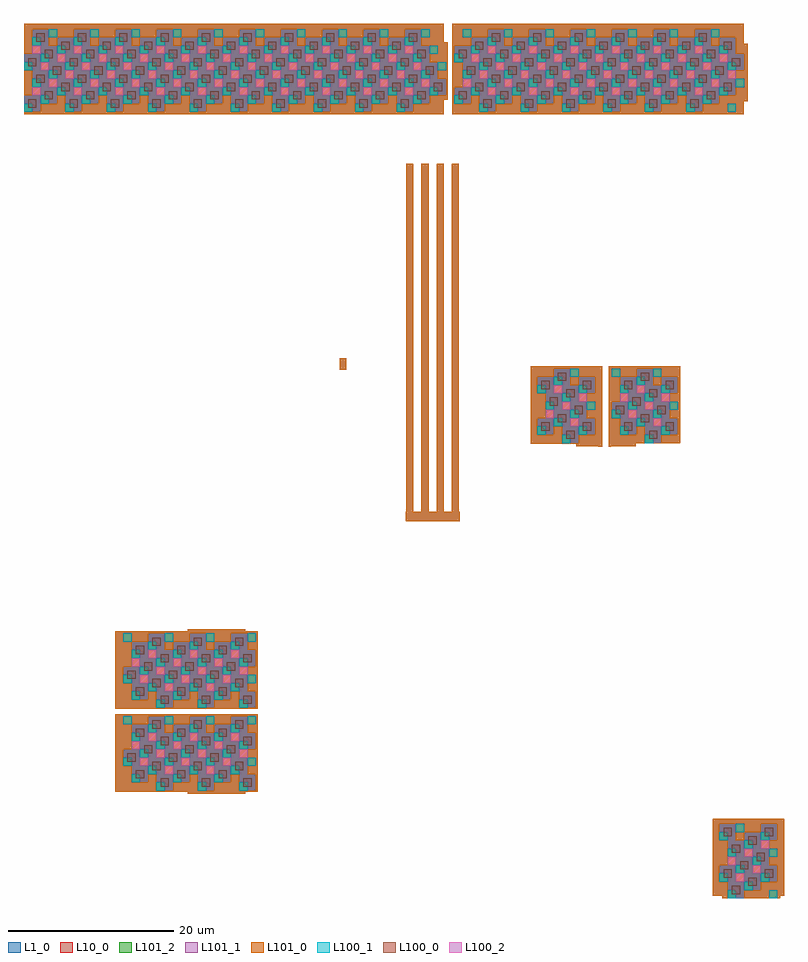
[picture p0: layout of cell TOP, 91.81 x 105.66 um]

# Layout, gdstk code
import gdstk
lib = gdstk.Library(unit=1e-6, precision=1e-09)
def R(c, l, rs):  # rectangles x0, y0, x1, y1
    for r in rs: c.add(gdstk.rectangle(r[:2], r[2:], *l))
def A(c, l, x, y, w, h, nx, ny, dx, dy):  # array of equal rectangles
    R(c, l, [(x+i*dx, y+j*dy, x+i*dx+w, y+j*dy+h) for i in range(nx) for j in range(ny)])
def P(c, l, *ps):  # polygons
    for p in ps: c.add(gdstk.Polygon(p, *l))
L1_0 = (1, 0)
L10_0 = (10, 0)
L100_0 = (100, 0)
L100_1 = (100, 1)
L100_2 = (100, 2)
L101_0 = (101, 0)
L101_1 = (101, 1)
L101_2 = (101, 2)

pat1 = lib.new_cell('PAT1')
R(pat1, L100_0, [(0,0,1,1)])

pat1_1 = lib.new_cell('PAT1$1')
R(pat1_1, L100_1, [(0,0,1,1)])

pat1_2 = lib.new_cell('PAT1$2')
R(pat1_2, L100_2, [(0,0,1,1)])

top = lib.new_cell('TOP')
R(top, L1_0, [(38.14,63.84,38.95,65.24)])
P(top, L1_0, [(0,94.703),(0,105.656),(50.732,105.656),(50.732,103.431),(51.214,103.431),(51.214,96.462),(50.732,96.462),(50.732,94.703)],
  [(51.75,94.703),(51.75,105.656),(86.941,105.656),(86.941,103.259),(87.423,103.259),(87.423,96.29),(86.941,96.29),(86.941,94.703)],
  [(70.622,54.579),(70.622,64.274),(79.247,64.274),(79.247,54.959),(73.881,54.959),(73.881,54.614),(70.949,54.614),(70.949,54.579)],
  [(84.353,0),(84.353,0.311),(83.18,0.311),(83.18,9.626),(91.805,9.626),(91.805,0.311),(91.322,0.311),(91.322,0)],
  [(11.006,22.874),(11.006,32.24),(19.768,32.24),(19.768,32.499),(26.738,32.499),(26.738,32.24),(28.256,32.24),(28.256,22.874)],
  [(46.108,45.575),(46.108,46.679),(46.178,46.679),(46.178,88.734),(47.04,88.734),(47.04,46.679),(48.006,46.679),(48.006,88.734),(48.868,88.734),(48.868,46.679),(49.834,46.679),(49.834,88.734),(50.697,88.734),(50.697,46.679),(51.663,46.679),(51.663,88.734),(52.526,88.734),(52.526,46.679),(52.629,46.679),(52.629,45.575)],
  [(19.768,12.609),(19.768,12.869),(11.006,12.869),(11.006,22.235),(28.256,22.235),(28.256,12.869),(26.738,12.869),(26.738,12.609)],
  [(69.396,54.579),(69.396,54.614),(66.705,54.614),(66.705,54.906),(61.203,54.906),(61.203,64.274),(69.828,64.274),(69.828,54.579)])
R(top, L10_0, [(38.14,63.84,38.95,65.24)])
P(top, L10_0, [(0,94.703),(0,105.656),(50.732,105.656),(50.732,103.431),(51.214,103.431),(51.214,96.462),(50.732,96.462),(50.732,94.703)],
  [(51.75,94.703),(51.75,105.656),(86.941,105.656),(86.941,103.259),(87.423,103.259),(87.423,96.29),(86.941,96.29),(86.941,94.703)],
  [(70.622,54.579),(70.622,64.274),(79.247,64.274),(79.247,54.959),(73.881,54.959),(73.881,54.614),(70.949,54.614),(70.949,54.579)],
  [(84.353,0),(84.353,0.311),(83.18,0.311),(83.18,9.626),(91.805,9.626),(91.805,0.311),(91.322,0.311),(91.322,0)],
  [(11.006,22.874),(11.006,32.24),(19.768,32.24),(19.768,32.499),(26.738,32.499),(26.738,32.24),(28.256,32.24),(28.256,22.874)],
  [(46.108,45.575),(46.108,46.679),(46.178,46.679),(46.178,88.734),(47.04,88.734),(47.04,46.679),(48.006,46.679),(48.006,88.734),(48.868,88.734),(48.868,46.679),(49.834,46.679),(49.834,88.734),(50.697,88.734),(50.697,46.679),(51.663,46.679),(51.663,88.734),(52.526,88.734),(52.526,46.679),(52.629,46.679),(52.629,45.575)],
  [(19.768,12.609),(19.768,12.869),(11.006,12.869),(11.006,22.235),(28.256,22.235),(28.256,12.869),(26.738,12.869),(26.738,12.609)],
  [(69.396,54.579),(69.396,54.614),(66.705,54.614),(66.705,54.906),(61.203,54.906),(61.203,64.274),(69.828,64.274),(69.828,54.579)])
A(top, L101_0, 14, 16, 1, 1, 3, 2, 5, 10)
A(top, L101_0, 15, 19, 1, 1, 3, 2, 5, 10)
A(top, L101_0, 6, 97, 1, 1, 9, 2, 5, 5)
A(top, L101_0, 56, 97, 1, 1, 6, 2, 5, 5)
A(top, L101_0, 3, 98, 1, 1, 10, 1, 5, 0)
A(top, L101_0, 58, 98, 1, 1, 6, 1, 5, 0)
A(top, L101_0, 5, 99, 1, 1, 9, 1, 5, 0)
A(top, L101_0, 55, 99, 1, 1, 6, 1, 5, 0)
A(top, L101_0, 2, 100, 1, 1, 10, 1, 5, 0)
A(top, L101_0, 57, 100, 1, 1, 6, 1, 5, 0)
A(top, L101_0, 4, 101, 1, 1, 9, 1, 5, 0)
A(top, L101_0, 54, 101, 1, 1, 7, 1, 5, 0)
R(top, L101_0, [(86,2,87,3), (88,3,89,4), (87,5,88,6), (17,15,18,16), (22,15,23,16), (16,17,17,18), (21,17,22,18), (18,18,19,19), (23,18,24,19), (17,25,18,26), (22,25,23,26), (16,27,17,28), (21,27,22,28), (18,28,19,29), (23,28,24,29), (66,57,67,58), (76,57,77,58), (73,58,74,59), (65,59,66,60), (75,59,76,60), (64,61,65,62), (74,61,75,62), (38.14,63.84,38.95,65.24)])
P(top, L101_0, [(0,94.703),(0,95),(2,95),(2,96),(4,96),(4,97),(5,97),(5,95),(7,95),(7,96),(9,96),(9,97),(10,97),(10,95),(12,95),(12,96),(14,96),(14,97),(15,97),(15,95),(17,95),(17,96),(19,96),(19,97),(20,97),(20,95),(22,95),(22,96),(24,96),(24,97),(25,97),(25,95),(27,95),(27,96),(29,96),(29,97),(30,97),(30,95),(32,95),(32,96),(34,96),(34,97),(35,97),(35,95),(37,95),(37,96),(39,96),(39,97),(40,97),(40,95),(42,95),(42,96),(44,96),(44,97),(45,97),(45,95),(47,95),(47,96),(49,96),(49,97),(51,97),(51,99),(50,99),(50,101),(49,101),(49,103),(48,103),(48,105),(46,105),(46,104),(44,104),(44,103),(43,103),(43,105),(41,105),(41,104),(39,104),(39,103),(38,103),(38,105),(36,105),(36,104),(34,104),(34,103),(33,103),(33,105),(31,105),(31,104),(29,104),(29,103),(28,103),(28,105),(26,105),(26,104),(24,104),(24,103),(23,103),(23,105),(21,105),(21,104),(19,104),(19,103),(18,103),(18,105),(16,105),(16,104),(14,104),(14,103),(13,103),(13,105),(11,105),(11,104),(9,104),(9,103),(8,103),(8,105),(6,105),(6,104),(4,104),(4,103),(3,103),(3,105),(1,105),(1,103),(2,103),(2,102),(0,102),(0,105.656),(50.732,105.656),(50.732,103.431),(51.214,103.431),(51.214,96.462),(50.732,96.462),(50.732,94.703)],
  [(46.108,45.575),(46.108,46.679),(46.178,46.679),(46.178,88.734),(47.04,88.734),(47.04,46.679),(48.006,46.679),(48.006,88.734),(48.868,88.734),(48.868,46.679),(49.834,46.679),(49.834,88.734),(50.697,88.734),(50.697,46.679),(51.663,46.679),(51.663,88.734),(52.526,88.734),(52.526,46.679),(52.629,46.679),(52.629,45.575)],
  [(69.396,54.579),(69.396,54.614),(66.705,54.614),(66.705,54.906),(61.203,54.906),(61.203,64),(64,64),(64,63),(62,63),(62,61),(63,61),(63,59),(64,59),(64,58),(62,58),(62,56),(64,56),(64,57),(65,57),(65,55),(67,55),(67,56),(69,56),(69,58),(68,58),(68,60),(67,60),(67,61),(69,61),(69,63),(67,63),(67,62),(66,62),(66,64),(61.203,64),(61.203,64.274),(69.828,64.274),(69.828,54.579)],
  [(70.622,54.579),(70.622,64),(74,64),(74,63),(72,63),(72,61),(73,61),(73,60),(71,60),(71,58),(72,58),(72,56),(74,56),(74,57),(75,57),(75,55),(77,55),(77,56),(79,56),(79,58),(78,58),(78,60),(77,60),(77,61),(79,61),(79,63),(77,63),(77,62),(76,62),(76,64),(70.622,64),(70.622,64.274),(79.247,64.274),(79.247,54.959),(73.881,54.959),(73.881,54.614),(70.949,54.614),(70.949,54.579)],
  [(51.75,94.703),(51.75,105),(56,105),(56,104),(54,104),(54,103),(52,103),(52,101),(53,101),(53,99),(54,99),(54,98),(52,98),(52,96),(54,96),(54,97),(55,97),(55,95),(57,95),(57,96),(59,96),(59,97),(60,97),(60,95),(62,95),(62,96),(64,96),(64,97),(65,97),(65,95),(67,95),(67,96),(69,96),(69,97),(70,97),(70,95),(72,95),(72,96),(74,96),(74,97),(75,97),(75,95),(77,95),(77,96),(79,96),(79,97),(80,97),(80,95),(82,95),(82,96),(84,96),(84,97),(86,97),(86,99),(85,99),(85,100),(87,100),(87,102),(86,102),(86,104),(84,104),(84,103),(83,103),(83,105),(81,105),(81,104),(79,104),(79,103),(78,103),(78,105),(76,105),(76,104),(74,104),(74,103),(73,103),(73,105),(71,105),(71,104),(69,104),(69,103),(68,103),(68,105),(66,105),(66,104),(64,104),(64,103),(63,103),(63,105),(61,105),(61,104),(59,104),(59,103),(58,103),(58,105),(51.75,105),(51.75,105.656),(86.941,105.656),(86.941,103.259),(87.423,103.259),(87.423,96.29),(86.941,96.29),(86.941,94.703)],
  [(0,97),(0,100),(1,100),(1,98),(2,98),(2,97)],
  [(19.768,12.609),(19.768,12.869),(11.006,12.869),(11.006,22),(15,22),(15,21),(13,21),(13,19),(14,19),(14,18),(12,18),(12,16),(13,16),(13,14),(15,14),(15,15),(16,15),(16,13),(18,13),(18,14),(20,14),(20,15),(21,15),(21,13),(23,13),(23,14),(25,14),(25,15),(26,15),(26,13),(28,13),(28,15),(27,15),(27,17),(26,17),(26,18),(28,18),(28,20),(27,20),(27,22),(25,22),(25,21),(23,21),(23,20),(22,20),(22,22),(20,22),(20,21),(18,21),(18,20),(17,20),(17,22),(11.006,22),(11.006,22.235),(28.256,22.235),(28.256,12.869),(26.738,12.869),(26.738,12.609)],
  [(11.006,22.874),(11.006,32),(15,32),(15,31),(13,31),(13,29),(14,29),(14,28),(12,28),(12,26),(13,26),(13,24),(15,24),(15,25),(16,25),(16,23),(18,23),(18,24),(20,24),(20,25),(21,25),(21,23),(23,23),(23,24),(25,24),(25,25),(26,25),(26,23),(28,23),(28,25),(27,25),(27,27),(26,27),(26,28),(28,28),(28,30),(27,30),(27,32),(25,32),(25,31),(23,31),(23,30),(22,30),(22,32),(20,32),(20,31),(18,31),(18,30),(17,30),(17,32),(11.006,32),(11.006,32.24),(19.768,32.24),(19.768,32.499),(26.738,32.499),(26.738,32.24),(28.256,32.24),(28.256,22.874)],
  [(84.353,0),(84.353,0.311),(83.18,0.311),(83.18,9.626),(91.805,9.626),(91.805,0.311),(91.322,0.311),(91.322,0),(87,0),(87,1),(89,1),(89,2),(91,2),(91,4),(90,4),(90,6),(89,6),(89,7),(91,7),(91,9),(89,9),(89,8),(87,8),(87,7),(86,7),(86,9),(84,9),(84,7),(85,7),(85,5),(86,5),(86,4),(84,4),(84,2),(85,2),(85,0)])
R(top, L101_1, [(38.14,63.84,38.95,65.24)])
P(top, L101_1, [(84.353,0),(84.353,0.311),(83.18,0.311),(83.18,3),(84,3),(84,2),(87,2),(87,1),(88,1),(88,2),(85,2),(85,3),(83.18,3),(83.18,4),(86,4),(86,3),(89,3),(89,2),(90,2),(90,3),(87,3),(87,4),(83.18,4),(83.18,6),(85,6),(85,5),(88,5),(88,4),(89,4),(89,5),(86,5),(86,6),(83.18,6),(83.18,8),(84,8),(84,7),(87,7),(87,6),(90,6),(90,5),(91,5),(91,6),(88,6),(88,7),(85,7),(85,8),(83.18,8),(83.18,9),(86,9),(86,8),(89,8),(89,7),(90,7),(90,8),(87,8),(87,9),(83.18,9),(83.18,9.626),(91.805,9.626),(91.805,0.311),(91.322,0.311),(91.322,0),(91,0),(91,1),(90,1),(90,0),(86,0),(86,1),(85,1),(85,0)],
  [(19.768,12.609),(19.768,12.869),(11.006,12.869),(11.006,15),(13,15),(13,14),(16,14),(16,13),(17,13),(17,14),(14,14),(14,15),(11.006,15),(11.006,17),(12,17),(12,16),(15,16),(15,15),(18,15),(18,14),(21,14),(21,13),(22,13),(22,14),(19,14),(19,15),(16,15),(16,16),(13,16),(13,17),(11.006,17),(11.006,18),(14,18),(14,17),(17,17),(17,16),(20,16),(20,15),(23,15),(23,14),(26,14),(26,13),(27,13),(27,14),(24,14),(24,15),(21,15),(21,16),(18,16),(18,17),(15,17),(15,18),(11.006,18),(11.006,20),(13,20),(13,19),(16,19),(16,18),(19,18),(19,17),(22,17),(22,16),(25,16),(25,15),(26,15),(26,16),(23,16),(23,17),(20,17),(20,18),(17,18),(17,19),(14,19),(14,20),(11.006,20),(11.006,22),(12,22),(12,21),(15,21),(15,20),(18,20),(18,19),(21,19),(21,18),(24,18),(24,17),(27,17),(27,16),(28,16),(28,17),(25,17),(25,18),(22,18),(22,19),(19,19),(19,20),(16,20),(16,21),(13,21),(13,22),(17,22),(17,21),(20,21),(20,20),(23,20),(23,19),(26,19),(26,18),(27,18),(27,19),(24,19),(24,20),(21,20),(21,21),(18,21),(18,22),(22,22),(22,21),(25,21),(25,20),(26,20),(26,21),(23,21),(23,22),(27,22),(27,21),(28,21),(28,22),(11.006,22),(11.006,22.235),(28.256,22.235),(28.256,12.869),(26.738,12.869),(26.738,12.609)],
  [(11.006,22.874),(11.006,25),(13,25),(13,24),(16,24),(16,23),(17,23),(17,24),(14,24),(14,25),(11.006,25),(11.006,27),(12,27),(12,26),(15,26),(15,25),(18,25),(18,24),(21,24),(21,23),(22,23),(22,24),(19,24),(19,25),(16,25),(16,26),(13,26),(13,27),(11.006,27),(11.006,28),(14,28),(14,27),(17,27),(17,26),(20,26),(20,25),(23,25),(23,24),(26,24),(26,23),(27,23),(27,24),(24,24),(24,25),(21,25),(21,26),(18,26),(18,27),(15,27),(15,28),(11.006,28),(11.006,30),(13,30),(13,29),(16,29),(16,28),(19,28),(19,27),(22,27),(22,26),(25,26),(25,25),(26,25),(26,26),(23,26),(23,27),(20,27),(20,28),(17,28),(17,29),(14,29),(14,30),(11.006,30),(11.006,32),(12,32),(12,31),(15,31),(15,30),(18,30),(18,29),(21,29),(21,28),(24,28),(24,27),(27,27),(27,26),(28,26),(28,27),(25,27),(25,28),(22,28),(22,29),(19,29),(19,30),(16,30),(16,31),(13,31),(13,32),(17,32),(17,31),(20,31),(20,30),(23,30),(23,29),(26,29),(26,28),(27,28),(27,29),(24,29),(24,30),(21,30),(21,31),(18,31),(18,32),(22,32),(22,31),(25,31),(25,30),(26,30),(26,31),(23,31),(23,32),(27,32),(27,31),(28,31),(28,32),(11.006,32),(11.006,32.24),(19.768,32.24),(19.768,32.499),(26.738,32.499),(26.738,32.24),(28.256,32.24),(28.256,22.874)],
  [(69.396,54.579),(69.396,54.614),(66.705,54.614),(66.705,54.906),(61.203,54.906),(61.203,57),(62,57),(62,56),(65,56),(65,55),(66,55),(66,56),(63,56),(63,57),(61.203,57),(61.203,58),(64,58),(64,57),(67,57),(67,56),(68,56),(68,57),(65,57),(65,58),(61.203,58),(61.203,60),(63,60),(63,59),(66,59),(66,58),(67,58),(67,59),(64,59),(64,60),(61.203,60),(61.203,62),(62,62),(62,61),(65,61),(65,60),(68,60),(68,59),(69,59),(69,60),(66,60),(66,61),(63,61),(63,62),(61.203,62),(61.203,63),(64,63),(64,62),(67,62),(67,61),(68,61),(68,62),(65,62),(65,63),(61.203,63),(61.203,64),(66,64),(66,63),(67,63),(67,64),(61.203,64),(61.203,64.274),(69.828,64.274),(69.828,54.579)],
  [(70.622,54.579),(70.622,57),(72,57),(72,56),(75,56),(75,55),(76,55),(76,56),(73,56),(73,57),(70.622,57),(70.622,59),(71,59),(71,58),(74,58),(74,57),(77,57),(77,56),(78,56),(78,57),(75,57),(75,58),(72,58),(72,59),(70.622,59),(70.622,60),(73,60),(73,59),(76,59),(76,58),(77,58),(77,59),(74,59),(74,60),(70.622,60),(70.622,62),(72,62),(72,61),(75,61),(75,60),(78,60),(78,59),(79,59),(79,60),(76,60),(76,61),(73,61),(73,62),(70.622,62),(70.622,64),(71,64),(71,63),(74,63),(74,62),(77,62),(77,61),(78,61),(78,62),(75,62),(75,63),(72,63),(72,64),(76,64),(76,63),(77,63),(77,64),(70.622,64),(70.622,64.274),(79.247,64.274),(79.247,54.959),(73.881,54.959),(73.881,54.614),(70.949,54.614),(70.949,54.579)],
  [(0,94.703),(0,95),(1,95),(1,96),(0,96),(0,97),(2,97),(2,96),(5,96),(5,95),(6,95),(6,96),(3,96),(3,97),(0,97),(0,99),(1,99),(1,98),(4,98),(4,97),(7,97),(7,96),(10,96),(10,95),(11,95),(11,96),(8,96),(8,97),(5,97),(5,98),(2,98),(2,99),(0,99),(0,100),(3,100),(3,99),(6,99),(6,98),(9,98),(9,97),(12,97),(12,96),(15,96),(15,95),(16,95),(16,96),(13,96),(13,97),(10,97),(10,98),(7,98),(7,99),(4,99),(4,100),(1,100),(1,101),(0,101),(0,102),(2,102),(2,101),(5,101),(5,100),(8,100),(8,99),(11,99),(11,98),(14,98),(14,97),(17,97),(17,96),(20,96),(20,95),(21,95),(21,96),(18,96),(18,97),(15,97),(15,98),(12,98),(12,99),(9,99),(9,100),(6,100),(6,101),(3,101),(3,102),(0,102),(0,104),(1,104),(1,103),(4,103),(4,102),(7,102),(7,101),(10,101),(10,100),(13,100),(13,99),(16,99),(16,98),(19,98),(19,97),(22,97),(22,96),(25,96),(25,95),(26,95),(26,96),(23,96),(23,97),(20,97),(20,98),(17,98),(17,99),(14,99),(14,100),(11,100),(11,101),(8,101),(8,102),(5,102),(5,103),(2,103),(2,104),(0,104),(0,105),(3,105),(3,104),(6,104),(6,103),(9,103),(9,102),(12,102),(12,101),(15,101),(15,100),(18,100),(18,99),(21,99),(21,98),(24,98),(24,97),(27,97),(27,96),(30,96),(30,95),(31,95),(31,96),(28,96),(28,97),(25,97),(25,98),(22,98),(22,99),(19,99),(19,100),(16,100),(16,101),(13,101),(13,102),(10,102),(10,103),(7,103),(7,104),(4,104),(4,105),(8,105),(8,104),(11,104),(11,103),(14,103),(14,102),(17,102),(17,101),(20,101),(20,100),(23,100),(23,99),(26,99),(26,98),(29,98),(29,97),(32,97),(32,96),(35,96),(35,95),(36,95),(36,96),(33,96),(33,97),(30,97),(30,98),(27,98),(27,99),(24,99),(24,100),(21,100),(21,101),(18,101),(18,102),(15,102),(15,103),(12,103),(12,104),(9,104),(9,105),(13,105),(13,104),(16,104),(16,103),(19,103),(19,102),(22,102),(22,101),(25,101),(25,100),(28,100),(28,99),(31,99),(31,98),(34,98),(34,97),(37,97),(37,96),(40,96),(40,95),(41,95),(41,96),(38,96),(38,97),(35,97),(35,98),(32,98),(32,99),(29,99),(29,100),(26,100),(26,101),(23,101),(23,102),(20,102),(20,103),(17,103),(17,104),(14,104),(14,105),(18,105),(18,104),(21,104),(21,103),(24,103),(24,102),(27,102),(27,101),(30,101),(30,100),(33,100),(33,99),(36,99),(36,98),(39,98),(39,97),(42,97),(42,96),(45,96),(45,95),(46,95),(46,96),(43,96),(43,97),(40,97),(40,98),(37,98),(37,99),(34,99),(34,100),(31,100),(31,101),(28,101),(28,102),(25,102),(25,103),(22,103),(22,104),(19,104),(19,105),(23,105),(23,104),(26,104),(26,103),(29,103),(29,102),(32,102),(32,101),(35,101),(35,100),(38,100),(38,99),(41,99),(41,98),(44,98),(44,97),(47,97),(47,96),(48,96),(48,97),(45,97),(45,98),(42,98),(42,99),(39,99),(39,100),(36,100),(36,101),(33,101),(33,102),(30,102),(30,103),(27,103),(27,104),(24,104),(24,105),(28,105),(28,104),(31,104),(31,103),(34,103),(34,102),(37,102),(37,101),(40,101),(40,100),(43,100),(43,99),(46,99),(46,98),(49,98),(49,97),(50,97),(50,98),(47,98),(47,99),(44,99),(44,100),(41,100),(41,101),(38,101),(38,102),(35,102),(35,103),(32,103),(32,104),(29,104),(29,105),(33,105),(33,104),(36,104),(36,103),(39,103),(39,102),(42,102),(42,101),(45,101),(45,100),(48,100),(48,99),(49,99),(49,100),(46,100),(46,101),(43,101),(43,102),(40,102),(40,103),(37,103),(37,104),(34,104),(34,105),(38,105),(38,104),(41,104),(41,103),(44,103),(44,102),(47,102),(47,101),(50,101),(50,100),(51,100),(51,101),(48,101),(48,102),(45,102),(45,103),(42,103),(42,104),(39,104),(39,105),(43,105),(43,104),(46,104),(46,103),(49,103),(49,102),(50,102),(50,103),(47,103),(47,104),(44,104),(44,105),(48,105),(48,104),(49,104),(49,105),(0,105),(0,105.656),(50.732,105.656),(50.732,103.431),(51.214,103.431),(51.214,96.462),(50.732,96.462),(50.732,94.703)],
  [(51.75,94.703),(51.75,97),(52,97),(52,96),(55,96),(55,95),(56,95),(56,96),(53,96),(53,97),(51.75,97),(51.75,98),(54,98),(54,97),(57,97),(57,96),(60,96),(60,95),(61,95),(61,96),(58,96),(58,97),(55,97),(55,98),(51.75,98),(51.75,100),(53,100),(53,99),(56,99),(56,98),(59,98),(59,97),(62,97),(62,96),(65,96),(65,95),(66,95),(66,96),(63,96),(63,97),(60,97),(60,98),(57,98),(57,99),(54,99),(54,100),(51.75,100),(51.75,102),(52,102),(52,101),(55,101),(55,100),(58,100),(58,99),(61,99),(61,98),(64,98),(64,97),(67,97),(67,96),(70,96),(70,95),(71,95),(71,96),(68,96),(68,97),(65,97),(65,98),(62,98),(62,99),(59,99),(59,100),(56,100),(56,101),(53,101),(53,102),(51.75,102),(51.75,103),(54,103),(54,102),(57,102),(57,101),(60,101),(60,100),(63,100),(63,99),(66,99),(66,98),(69,98),(69,97),(72,97),(72,96),(75,96),(75,95),(76,95),(76,96),(73,96),(73,97),(70,97),(70,98),(67,98),(67,99),(64,99),(64,100),(61,100),(61,101),(58,101),(58,102),(55,102),(55,103),(51.75,103),(51.75,105),(53,105),(53,104),(56,104),(56,103),(59,103),(59,102),(62,102),(62,101),(65,101),(65,100),(68,100),(68,99),(71,99),(71,98),(74,98),(74,97),(77,97),(77,96),(80,96),(80,95),(81,95),(81,96),(78,96),(78,97),(75,97),(75,98),(72,98),(72,99),(69,99),(69,100),(66,100),(66,101),(63,101),(63,102),(60,102),(60,103),(57,103),(57,104),(54,104),(54,105),(58,105),(58,104),(61,104),(61,103),(64,103),(64,102),(67,102),(67,101),(70,101),(70,100),(73,100),(73,99),(76,99),(76,98),(79,98),(79,97),(82,97),(82,96),(85,96),(85,95),(86,95),(86,96),(83,96),(83,97),(80,97),(80,98),(77,98),(77,99),(74,99),(74,100),(71,100),(71,101),(68,101),(68,102),(65,102),(65,103),(62,103),(62,104),(59,104),(59,105),(63,105),(63,104),(66,104),(66,103),(69,103),(69,102),(72,102),(72,101),(75,101),(75,100),(78,100),(78,99),(81,99),(81,98),(84,98),(84,97),(85,97),(85,98),(82,98),(82,99),(79,99),(79,100),(76,100),(76,101),(73,101),(73,102),(70,102),(70,103),(67,103),(67,104),(64,104),(64,105),(68,105),(68,104),(71,104),(71,103),(74,103),(74,102),(77,102),(77,101),(80,101),(80,100),(83,100),(83,99),(86,99),(86,98),(87,98),(87,99),(84,99),(84,100),(81,100),(81,101),(78,101),(78,102),(75,102),(75,103),(72,103),(72,104),(69,104),(69,105),(73,105),(73,104),(76,104),(76,103),(79,103),(79,102),(82,102),(82,101),(85,101),(85,100),(86,100),(86,101),(83,101),(83,102),(80,102),(80,103),(77,103),(77,104),(74,104),(74,105),(78,105),(78,104),(81,104),(81,103),(84,103),(84,102),(85,102),(85,103),(82,103),(82,104),(79,104),(79,105),(83,105),(83,104),(84,104),(84,105),(51.75,105),(51.75,105.656),(86.941,105.656),(86.941,103.259),(87.423,103.259),(87.423,96.29),(86.941,96.29),(86.941,94.703)],
  [(46.108,45.575),(46.108,46.679),(46.178,46.679),(46.178,88.734),(47.04,88.734),(47.04,46.679),(48.006,46.679),(48.006,88.734),(48.868,88.734),(48.868,46.679),(49.834,46.679),(49.834,88.734),(50.697,88.734),(50.697,46.679),(51.663,46.679),(51.663,88.734),(52.526,88.734),(52.526,46.679),(52.629,46.679),(52.629,45.575)])
R(top, L101_2, [(38.14,63.84,38.95,65.24)])
P(top, L101_2, [(84.353,0),(84.353,0.311),(83.18,0.311),(83.18,3),(86,3),(86,2),(87,2),(87,3),(83.18,3),(83.18,5),(85,5),(85,4),(88,4),(88,3),(89,3),(89,4),(86,4),(86,5),(83.18,5),(83.18,6),(87,6),(87,5),(88,5),(88,6),(83.18,6),(83.18,7),(89,7),(89,6),(90,6),(90,7),(83.18,7),(83.18,9.626),(91.805,9.626),(91.805,0.311),(91.322,0.311),(91.322,0)],
  [(19.768,12.609),(19.768,12.869),(11.006,12.869),(11.006,17),(14,17),(14,16),(17,16),(17,15),(18,15),(18,16),(15,16),(15,17),(11.006,17),(11.006,19),(13,19),(13,18),(16,18),(16,17),(19,17),(19,16),(22,16),(22,15),(23,15),(23,16),(20,16),(20,17),(17,17),(17,18),(14,18),(14,19),(11.006,19),(11.006,20),(15,20),(15,19),(18,19),(18,18),(21,18),(21,17),(24,17),(24,16),(25,16),(25,17),(22,17),(22,18),(19,18),(19,19),(16,19),(16,20),(20,20),(20,19),(23,19),(23,18),(26,18),(26,17),(27,17),(27,18),(24,18),(24,19),(21,19),(21,20),(25,20),(25,19),(26,19),(26,20),(11.006,20),(11.006,22.235),(28.256,22.235),(28.256,12.869),(26.738,12.869),(26.738,12.609)],
  [(11.006,22.874),(11.006,27),(14,27),(14,26),(17,26),(17,25),(18,25),(18,26),(15,26),(15,27),(11.006,27),(11.006,29),(13,29),(13,28),(16,28),(16,27),(19,27),(19,26),(22,26),(22,25),(23,25),(23,26),(20,26),(20,27),(17,27),(17,28),(14,28),(14,29),(11.006,29),(11.006,30),(15,30),(15,29),(18,29),(18,28),(21,28),(21,27),(24,27),(24,26),(25,26),(25,27),(22,27),(22,28),(19,28),(19,29),(16,29),(16,30),(20,30),(20,29),(23,29),(23,28),(26,28),(26,27),(27,27),(27,28),(24,28),(24,29),(21,29),(21,30),(25,30),(25,29),(26,29),(26,30),(11.006,30),(11.006,32.24),(19.768,32.24),(19.768,32.499),(26.738,32.499),(26.738,32.24),(28.256,32.24),(28.256,22.874)],
  [(69.396,54.579),(69.396,54.614),(66.705,54.614),(66.705,54.906),(61.203,54.906),(61.203,59),(63,59),(63,58),(66,58),(66,57),(67,57),(67,58),(64,58),(64,59),(61.203,59),(61.203,60),(65,60),(65,59),(66,59),(66,60),(61.203,60),(61.203,62),(64,62),(64,61),(67,61),(67,60),(68,60),(68,61),(65,61),(65,62),(61.203,62),(61.203,64.274),(69.828,64.274),(69.828,54.579)],
  [(70.622,54.579),(70.622,59),(73,59),(73,58),(76,58),(76,57),(77,57),(77,58),(74,58),(74,59),(70.622,59),(70.622,61),(72,61),(72,60),(75,60),(75,59),(76,59),(76,60),(73,60),(73,61),(70.622,61),(70.622,62),(74,62),(74,61),(77,61),(77,60),(78,60),(78,61),(75,61),(75,62),(70.622,62),(70.622,64.274),(79.247,64.274),(79.247,54.959),(73.881,54.959),(73.881,54.614),(70.949,54.614),(70.949,54.579)],
  [(0,94.703),(0,98),(1,98),(1,97),(2,97),(2,98),(0,98),(0,99),(3,99),(3,98),(6,98),(6,97),(7,97),(7,98),(4,98),(4,99),(0,99),(0,101),(2,101),(2,100),(5,100),(5,99),(8,99),(8,98),(11,98),(11,97),(12,97),(12,98),(9,98),(9,99),(6,99),(6,100),(3,100),(3,101),(0,101),(0,103),(1,103),(1,102),(4,102),(4,101),(7,101),(7,100),(10,100),(10,99),(13,99),(13,98),(16,98),(16,97),(17,97),(17,98),(14,98),(14,99),(11,99),(11,100),(8,100),(8,101),(5,101),(5,102),(2,102),(2,103),(6,103),(6,102),(9,102),(9,101),(12,101),(12,100),(15,100),(15,99),(18,99),(18,98),(21,98),(21,97),(22,97),(22,98),(19,98),(19,99),(16,99),(16,100),(13,100),(13,101),(10,101),(10,102),(7,102),(7,103),(11,103),(11,102),(14,102),(14,101),(17,101),(17,100),(20,100),(20,99),(23,99),(23,98),(26,98),(26,97),(27,97),(27,98),(24,98),(24,99),(21,99),(21,100),(18,100),(18,101),(15,101),(15,102),(12,102),(12,103),(16,103),(16,102),(19,102),(19,101),(22,101),(22,100),(25,100),(25,99),(28,99),(28,98),(31,98),(31,97),(32,97),(32,98),(29,98),(29,99),(26,99),(26,100),(23,100),(23,101),(20,101),(20,102),(17,102),(17,103),(21,103),(21,102),(24,102),(24,101),(27,101),(27,100),(30,100),(30,99),(33,99),(33,98),(36,98),(36,97),(37,97),(37,98),(34,98),(34,99),(31,99),(31,100),(28,100),(28,101),(25,101),(25,102),(22,102),(22,103),(26,103),(26,102),(29,102),(29,101),(32,101),(32,100),(35,100),(35,99),(38,99),(38,98),(41,98),(41,97),(42,97),(42,98),(39,98),(39,99),(36,99),(36,100),(33,100),(33,101),(30,101),(30,102),(27,102),(27,103),(31,103),(31,102),(34,102),(34,101),(37,101),(37,100),(40,100),(40,99),(43,99),(43,98),(46,98),(46,97),(47,97),(47,98),(44,98),(44,99),(41,99),(41,100),(38,100),(38,101),(35,101),(35,102),(32,102),(32,103),(36,103),(36,102),(39,102),(39,101),(42,101),(42,100),(45,100),(45,99),(48,99),(48,98),(49,98),(49,99),(46,99),(46,100),(43,100),(43,101),(40,101),(40,102),(37,102),(37,103),(41,103),(41,102),(44,102),(44,101),(47,101),(47,100),(48,100),(48,101),(45,101),(45,102),(42,102),(42,103),(46,103),(46,102),(47,102),(47,103),(0,103),(0,105.656),(50.732,105.656),(50.732,103.431),(51.214,103.431),(51.214,96.462),(50.732,96.462),(50.732,94.703)],
  [(51.75,94.703),(51.75,99),(53,99),(53,98),(56,98),(56,97),(57,97),(57,98),(54,98),(54,99),(51.75,99),(51.75,100),(55,100),(55,99),(58,99),(58,98),(61,98),(61,97),(62,97),(62,98),(59,98),(59,99),(56,99),(56,100),(51.75,100),(51.75,102),(54,102),(54,101),(57,101),(57,100),(60,100),(60,99),(63,99),(63,98),(66,98),(66,97),(67,97),(67,98),(64,98),(64,99),(61,99),(61,100),(58,100),(58,101),(55,101),(55,102),(51.75,102),(51.75,103),(56,103),(56,102),(59,102),(59,101),(62,101),(62,100),(65,100),(65,99),(68,99),(68,98),(71,98),(71,97),(72,97),(72,98),(69,98),(69,99),(66,99),(66,100),(63,100),(63,101),(60,101),(60,102),(57,102),(57,103),(61,103),(61,102),(64,102),(64,101),(67,101),(67,100),(70,100),(70,99),(73,99),(73,98),(76,98),(76,97),(77,97),(77,98),(74,98),(74,99),(71,99),(71,100),(68,100),(68,101),(65,101),(65,102),(62,102),(62,103),(66,103),(66,102),(69,102),(69,101),(72,101),(72,100),(75,100),(75,99),(78,99),(78,98),(81,98),(81,97),(82,97),(82,98),(79,98),(79,99),(76,99),(76,100),(73,100),(73,101),(70,101),(70,102),(67,102),(67,103),(71,103),(71,102),(74,102),(74,101),(77,101),(77,100),(80,100),(80,99),(83,99),(83,98),(84,98),(84,99),(81,99),(81,100),(78,100),(78,101),(75,101),(75,102),(72,102),(72,103),(76,103),(76,102),(79,102),(79,101),(82,101),(82,100),(85,100),(85,99),(86,99),(86,100),(83,100),(83,101),(80,101),(80,102),(77,102),(77,103),(81,103),(81,102),(84,102),(84,101),(85,101),(85,102),(82,102),(82,103),(51.75,103),(51.75,105.656),(86.941,105.656),(86.941,103.259),(87.423,103.259),(87.423,96.29),(86.941,96.29),(86.941,94.703)],
  [(46.108,45.575),(46.108,46.679),(46.178,46.679),(46.178,88.734),(47.04,88.734),(47.04,46.679),(48.006,46.679),(48.006,88.734),(48.868,88.734),(48.868,46.679),(49.834,46.679),(49.834,88.734),(50.697,88.734),(50.697,46.679),(51.663,46.679),(51.663,88.734),(52.526,88.734),(52.526,46.679),(52.629,46.679),(52.629,45.575)])
r = gdstk.Reference(pat1, (0.5,95.5)); r.repetition = gdstk.Repetition(10, 2, v1=(5,0), v2=(0,5)); top.add(r)
r = gdstk.Reference(pat1, (2.5,96.5)); r.repetition = gdstk.Repetition(10, 2, v1=(5,0), v2=(0,5)); top.add(r)
r = gdstk.Reference(pat1, (1.5,98.5)); r.repetition = gdstk.Repetition(10, 2, v1=(5,0), v2=(0,5)); top.add(r)
r = gdstk.Reference(pat1, (3.5,99.5)); r.repetition = gdstk.Repetition(10, 1, v1=(5,0), v2=(0,0)); top.add(r)
r = gdstk.Reference(pat1_1, (0,95)); r.repetition = gdstk.Repetition(10, 2, v1=(5,0), v2=(0,5)); top.add(r)
r = gdstk.Reference(pat1_1, (2,96)); r.repetition = gdstk.Repetition(10, 2, v1=(5,0), v2=(0,5)); top.add(r)
r = gdstk.Reference(pat1_1, (4,97)); r.repetition = gdstk.Repetition(10, 2, v1=(5,0), v2=(0,5)); top.add(r)
r = gdstk.Reference(pat1_1, (1,98)); r.repetition = gdstk.Repetition(10, 2, v1=(5,0), v2=(0,5)); top.add(r)
r = gdstk.Reference(pat1_1, (3,99)); r.repetition = gdstk.Repetition(10, 2, v1=(5,0), v2=(0,5)); top.add(r)
r = gdstk.Reference(pat1_2, (1,102)); r.repetition = gdstk.Repetition(10, 1, v1=(5,0), v2=(0,0)); top.add(r)
r = gdstk.Reference(pat1_2, (1,97)); r.repetition = gdstk.Repetition(10, 1, v1=(5,0), v2=(0,0)); top.add(r)
r = gdstk.Reference(pat1_2, (3,98)); r.repetition = gdstk.Repetition(10, 1, v1=(5,0), v2=(0,0)); top.add(r)
r = gdstk.Reference(pat1_2, (5,99)); r.repetition = gdstk.Repetition(9, 1, v1=(5,0), v2=(0,0)); top.add(r)
r = gdstk.Reference(pat1_2, (2,100)); r.repetition = gdstk.Repetition(10, 1, v1=(5,0), v2=(0,0)); top.add(r)
top.add(gdstk.Reference(pat1, (66.5,58.5)))
r = gdstk.Reference(pat1, (55.5,95.5)); r.repetition = gdstk.Repetition(6, 2, v1=(5,0), v2=(0,5)); top.add(r)
top.add(gdstk.Reference(pat1, (85.5,100.5)))
r = gdstk.Reference(pat1, (52.5,96.5)); r.repetition = gdstk.Repetition(7, 2, v1=(5,0), v2=(0,5)); top.add(r)
r = gdstk.Reference(pat1, (54.5,97.5)); r.repetition = gdstk.Repetition(7, 2, v1=(5,0), v2=(0,5)); top.add(r)
r = gdstk.Reference(pat1, (56.5,98.5)); r.repetition = gdstk.Repetition(6, 2, v1=(5,0), v2=(0,5)); top.add(r)
r = gdstk.Reference(pat1, (53.5,99.5)); r.repetition = gdstk.Repetition(7, 1, v1=(5,0), v2=(0,0)); top.add(r)
r = gdstk.Reference(pat1_1, (65,55)); r.repetition = gdstk.Repetition(1, 2, v1=(0,0), v2=(0,5)); top.add(r)
r = gdstk.Reference(pat1_1, (62,56)); r.repetition = gdstk.Repetition(2, 2, v1=(5,0), v2=(0,5)); top.add(r)
r = gdstk.Reference(pat1_1, (64,57)); r.repetition = gdstk.Repetition(1, 2, v1=(0,0), v2=(0,5)); top.add(r)
r = gdstk.Reference(pat1_1, (66,58)); r.repetition = gdstk.Repetition(1, 2, v1=(0,0), v2=(0,5)); top.add(r)
r = gdstk.Reference(pat1_1, (63,59)); r.repetition = gdstk.Repetition(2, 1, v1=(5,0), v2=(0,0)); top.add(r)
r = gdstk.Reference(pat1_1, (75,55)); r.repetition = gdstk.Repetition(1, 2, v1=(0,0), v2=(0,5)); top.add(r)
r = gdstk.Reference(pat1_1, (72,56)); r.repetition = gdstk.Repetition(2, 2, v1=(5,0), v2=(0,5)); top.add(r)
r = gdstk.Reference(pat1_1, (74,57)); r.repetition = gdstk.Repetition(1, 2, v1=(0,0), v2=(0,5)); top.add(r)
r = gdstk.Reference(pat1_1, (71,58)); r.repetition = gdstk.Repetition(2, 2, v1=(5,0), v2=(0,5)); top.add(r)
r = gdstk.Reference(pat1_1, (73,59)); r.repetition = gdstk.Repetition(2, 1, v1=(5,0), v2=(0,0)); top.add(r)
top.add(gdstk.Reference(pat1, (63.5,59.5)))
top.add(gdstk.Reference(pat1_1, (50,100)))
r = gdstk.Reference(pat1, (75.5,55.5)); r.repetition = gdstk.Repetition(1, 2, v1=(0,0), v2=(0,5)); top.add(r)
r = gdstk.Reference(pat1, (72.5,56.5)); r.repetition = gdstk.Repetition(2, 2, v1=(5,0), v2=(0,5)); top.add(r)
r = gdstk.Reference(pat1, (74.5,57.5)); r.repetition = gdstk.Repetition(1, 2, v1=(0,0), v2=(0,5)); top.add(r)
r = gdstk.Reference(pat1, (71.5,58.5)); r.repetition = gdstk.Repetition(2, 1, v1=(5,0), v2=(0,0)); top.add(r)
r = gdstk.Reference(pat1_1, (55,95)); r.repetition = gdstk.Repetition(7, 2, v1=(5,0), v2=(0,5)); top.add(r)
r = gdstk.Reference(pat1_1, (52,96)); r.repetition = gdstk.Repetition(7, 2, v1=(5,0), v2=(0,5)); top.add(r)
r = gdstk.Reference(pat1_1, (54,97)); r.repetition = gdstk.Repetition(7, 2, v1=(5,0), v2=(0,5)); top.add(r)
r = gdstk.Reference(pat1_1, (56,98)); r.repetition = gdstk.Repetition(6, 2, v1=(5,0), v2=(0,5)); top.add(r)
top.add(gdstk.Reference(pat1_1, (86,98)))
r = gdstk.Reference(pat1_1, (53,99)); r.repetition = gdstk.Repetition(7, 2, v1=(5,0), v2=(0,5)); top.add(r)
top.add(gdstk.Reference(pat1_2, (66,57)))
top.add(gdstk.Reference(pat1_2, (63,58)))
top.add(gdstk.Reference(pat1_2, (65,59)))
top.add(gdstk.Reference(pat1_2, (67,60)))
top.add(gdstk.Reference(pat1_2, (64,61)))
top.add(gdstk.Reference(pat1_2, (76,57)))
top.add(gdstk.Reference(pat1_2, (73,58)))
top.add(gdstk.Reference(pat1_2, (75,59)))
r = gdstk.Reference(pat1_2, (72,60)); r.repetition = gdstk.Repetition(2, 1, v1=(5,0), v2=(0,0)); top.add(r)
top.add(gdstk.Reference(pat1_2, (74,61)))
top.add(gdstk.Reference(pat1, (73.5,59.5)))
r = gdstk.Reference(pat1, (65.5,55.5)); r.repetition = gdstk.Repetition(1, 2, v1=(0,0), v2=(0,5)); top.add(r)
r = gdstk.Reference(pat1, (62.5,56.5)); r.repetition = gdstk.Repetition(2, 2, v1=(5,0), v2=(0,5)); top.add(r)
top.add(gdstk.Reference(pat1, (49.5,97.5)))
r = gdstk.Reference(pat1, (64.5,57.5)); r.repetition = gdstk.Repetition(1, 2, v1=(0,0), v2=(0,5)); top.add(r)
r = gdstk.Reference(pat1_2, (56,102)); r.repetition = gdstk.Repetition(6, 1, v1=(5,0), v2=(0,0)); top.add(r)
r = gdstk.Reference(pat1_2, (56,97)); r.repetition = gdstk.Repetition(6, 1, v1=(5,0), v2=(0,0)); top.add(r)
r = gdstk.Reference(pat1_2, (53,98)); r.repetition = gdstk.Repetition(7, 1, v1=(5,0), v2=(0,0)); top.add(r)
r = gdstk.Reference(pat1_2, (55,99)); r.repetition = gdstk.Repetition(7, 1, v1=(5,0), v2=(0,0)); top.add(r)
r = gdstk.Reference(pat1_2, (57,100)); r.repetition = gdstk.Repetition(6, 1, v1=(5,0), v2=(0,0)); top.add(r)
r = gdstk.Reference(pat1_2, (54,101)); r.repetition = gdstk.Repetition(7, 1, v1=(5,0), v2=(0,0)); top.add(r)
r = gdstk.Reference(pat1, (4.5,97.5)); r.repetition = gdstk.Repetition(9, 2, v1=(5,0), v2=(0,5)); top.add(r)
r = gdstk.Reference(pat1_2, (4,101)); r.repetition = gdstk.Repetition(9, 1, v1=(5,0), v2=(0,0)); top.add(r)
r = gdstk.Reference(pat1_2, (16,17)); r.repetition = gdstk.Repetition(3, 1, v1=(5,0), v2=(0,0)); top.add(r)
r = gdstk.Reference(pat1_2, (13,18)); r.repetition = gdstk.Repetition(3, 1, v1=(5,0), v2=(0,0)); top.add(r)
r = gdstk.Reference(pat1_2, (15,19)); r.repetition = gdstk.Repetition(3, 1, v1=(5,0), v2=(0,0)); top.add(r)
r = gdstk.Reference(pat1_2, (17,25)); r.repetition = gdstk.Repetition(2, 1, v1=(5,0), v2=(0,0)); top.add(r)
r = gdstk.Reference(pat1_2, (14,26)); r.repetition = gdstk.Repetition(3, 1, v1=(5,0), v2=(0,0)); top.add(r)
r = gdstk.Reference(pat1_2, (16,27)); r.repetition = gdstk.Repetition(3, 1, v1=(5,0), v2=(0,0)); top.add(r)
r = gdstk.Reference(pat1_2, (13,28)); r.repetition = gdstk.Repetition(3, 1, v1=(5,0), v2=(0,0)); top.add(r)
r = gdstk.Reference(pat1_2, (15,29)); r.repetition = gdstk.Repetition(3, 1, v1=(5,0), v2=(0,0)); top.add(r)
r = gdstk.Reference(pat1, (13.5,14.5)); r.repetition = gdstk.Repetition(3, 2, v1=(5,0), v2=(0,5)); top.add(r)
r = gdstk.Reference(pat1, (15.5,25.5)); r.repetition = gdstk.Repetition(3, 2, v1=(5,0), v2=(0,5)); top.add(r)
r = gdstk.Reference(pat1, (12.5,26.5)); r.repetition = gdstk.Repetition(3, 1, v1=(5,0), v2=(0,0)); top.add(r)
r = gdstk.Reference(pat1, (14.5,27.5)); r.repetition = gdstk.Repetition(3, 1, v1=(5,0), v2=(0,0)); top.add(r)
r = gdstk.Reference(pat1, (16.5,23.5)); r.repetition = gdstk.Repetition(3, 2, v1=(5,0), v2=(0,5)); top.add(r)
r = gdstk.Reference(pat1, (13.5,24.5)); r.repetition = gdstk.Repetition(3, 2, v1=(5,0), v2=(0,5)); top.add(r)
r = gdstk.Reference(pat1, (15.5,15.5)); r.repetition = gdstk.Repetition(3, 2, v1=(5,0), v2=(0,5)); top.add(r)
r = gdstk.Reference(pat1, (12.5,16.5)); r.repetition = gdstk.Repetition(3, 1, v1=(5,0), v2=(0,0)); top.add(r)
r = gdstk.Reference(pat1_1, (15,15)); r.repetition = gdstk.Repetition(3, 2, v1=(5,0), v2=(0,5)); top.add(r)
r = gdstk.Reference(pat1_1, (12,16)); r.repetition = gdstk.Repetition(4, 2, v1=(5,0), v2=(0,5)); top.add(r)
r = gdstk.Reference(pat1_1, (14,17)); r.repetition = gdstk.Repetition(3, 1, v1=(5,0), v2=(0,0)); top.add(r)
r = gdstk.Reference(pat1_1, (16,13)); r.repetition = gdstk.Repetition(3, 2, v1=(5,0), v2=(0,5)); top.add(r)
r = gdstk.Reference(pat1_1, (13,14)); r.repetition = gdstk.Repetition(3, 2, v1=(5,0), v2=(0,5)); top.add(r)
r = gdstk.Reference(pat1_1, (15,25)); r.repetition = gdstk.Repetition(3, 2, v1=(5,0), v2=(0,5)); top.add(r)
r = gdstk.Reference(pat1_1, (12,26)); r.repetition = gdstk.Repetition(4, 2, v1=(5,0), v2=(0,5)); top.add(r)
r = gdstk.Reference(pat1_1, (14,27)); r.repetition = gdstk.Repetition(3, 1, v1=(5,0), v2=(0,0)); top.add(r)
r = gdstk.Reference(pat1_1, (16,23)); r.repetition = gdstk.Repetition(3, 2, v1=(5,0), v2=(0,5)); top.add(r)
r = gdstk.Reference(pat1_1, (13,24)); r.repetition = gdstk.Repetition(3, 2, v1=(5,0), v2=(0,5)); top.add(r)
r = gdstk.Reference(pat1, (14.5,17.5)); r.repetition = gdstk.Repetition(3, 1, v1=(5,0), v2=(0,0)); top.add(r)
r = gdstk.Reference(pat1, (16.5,13.5)); r.repetition = gdstk.Repetition(3, 2, v1=(5,0), v2=(0,5)); top.add(r)
r = gdstk.Reference(pat1_2, (17,15)); r.repetition = gdstk.Repetition(2, 1, v1=(5,0), v2=(0,0)); top.add(r)
r = gdstk.Reference(pat1_2, (14,16)); r.repetition = gdstk.Repetition(3, 1, v1=(5,0), v2=(0,0)); top.add(r)
r = gdstk.Reference(pat1, (87.5,1.5)); r.repetition = gdstk.Repetition(1, 2, v1=(0,0), v2=(0,5)); top.add(r)
r = gdstk.Reference(pat1_1, (85,0)); r.repetition = gdstk.Repetition(2, 2, v1=(5,0), v2=(0,5)); top.add(r)
r = gdstk.Reference(pat1_1, (87,1)); r.repetition = gdstk.Repetition(1, 2, v1=(0,0), v2=(0,5)); top.add(r)
r = gdstk.Reference(pat1_1, (84,2)); r.repetition = gdstk.Repetition(2, 2, v1=(5,0), v2=(0,5)); top.add(r)
r = gdstk.Reference(pat1_1, (86,3)); r.repetition = gdstk.Repetition(1, 2, v1=(0,0), v2=(0,5)); top.add(r)
top.add(gdstk.Reference(pat1_1, (88,4)))
r = gdstk.Reference(pat1, (84.5,2.5)); r.repetition = gdstk.Repetition(2, 2, v1=(5,0), v2=(0,5)); top.add(r)
top.add(gdstk.Reference(pat1, (86.5,3.5)))
top.add(gdstk.Reference(pat1_2, (86,2)))
top.add(gdstk.Reference(pat1_2, (88,3)))
top.add(gdstk.Reference(pat1_2, (85,4)))
top.add(gdstk.Reference(pat1_2, (87,5)))
top.add(gdstk.Reference(pat1_2, (89,6)))
top.add(gdstk.Reference(pat1, (88.5,4.5)))
r = gdstk.Reference(pat1, (85.5,0.5)); r.repetition = gdstk.Repetition(1, 2, v1=(0,0), v2=(0,5)); top.add(r)

lib.write_gds('TOP.gds')
